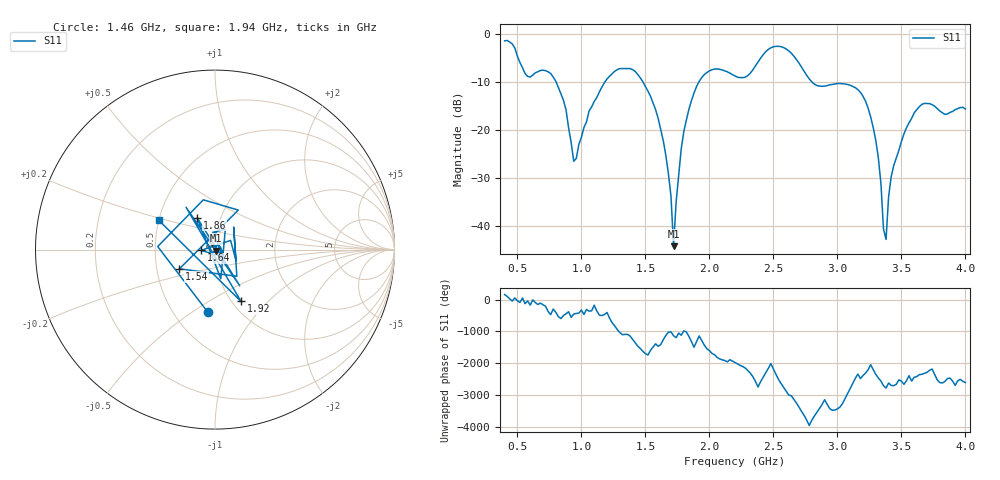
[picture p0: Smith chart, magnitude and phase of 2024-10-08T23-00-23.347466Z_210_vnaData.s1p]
! Created with skrf (http://scikit-rf.org).
# Hz S RI R 50.0
!freq ReS11 ImS11
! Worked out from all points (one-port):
!   181 points, 400 MHz to 4 GHz, reference 50 ohm
!   lowest |S11| = -44.2 dB at 1.72 GHz (marker M1), VSWR 1.01, Z = 50.3 - j0.519 ohm
!   |S11| at or under -10 dB: 803 MHz to 1.182 GHz (379.2 MHz wide, 38.2 % of centre); 1.482 GHz to 1.917 GHz (435.2 MHz wide, 25.6 % of centre); 2.803 GHz to end of sweep
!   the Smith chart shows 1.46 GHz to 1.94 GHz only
!   S11 on the Smith chart (normalised r, x): 1.46 GHz: 0.73, -0.58; 1.54 GHz: 0.66, -0.15; 1.64 GHz: 0.86, -0.01; 1.86 GHz: 0.77, +0.29; 1.92 GHz: 1.10, -0.71; 1.94 GHz: 0.50, +0.19
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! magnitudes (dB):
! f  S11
! 400 MHz  -1.4
! 760 MHz  -8.2
! 860 MHz  -13.8
! 940 MHz  -26.5
! 1.06 GHz  -16.0
! 1.3 GHz  -7.2
! 1.46 GHz  -9.1
! 1.54 GHz  -12.9
! 1.64 GHz  -22.2
! 1.7 GHz  -33.9
! 1.72 GHz  -44.2
! 1.76 GHz  -29.3
! 1.86 GHz  -13.8
! 1.92 GHz  -9.8
! 1.94 GHz  -9.0
! 2.2 GHz  -8.7
! 2.5 GHz  -2.6
! 2.66 GHz  -4.6
! 2.84 GHz  -10.7
! 3.1 GHz  -10.6
! 3.28 GHz  -19.5
! 3.32 GHz  -25.8
! 3.36 GHz  -40.6
! 3.38 GHz  -42.8
! 3.42 GHz  -29.7
! 3.56 GHz  -18.5
! 3.68 GHz  -14.4
! 4 GHz  -15.6
